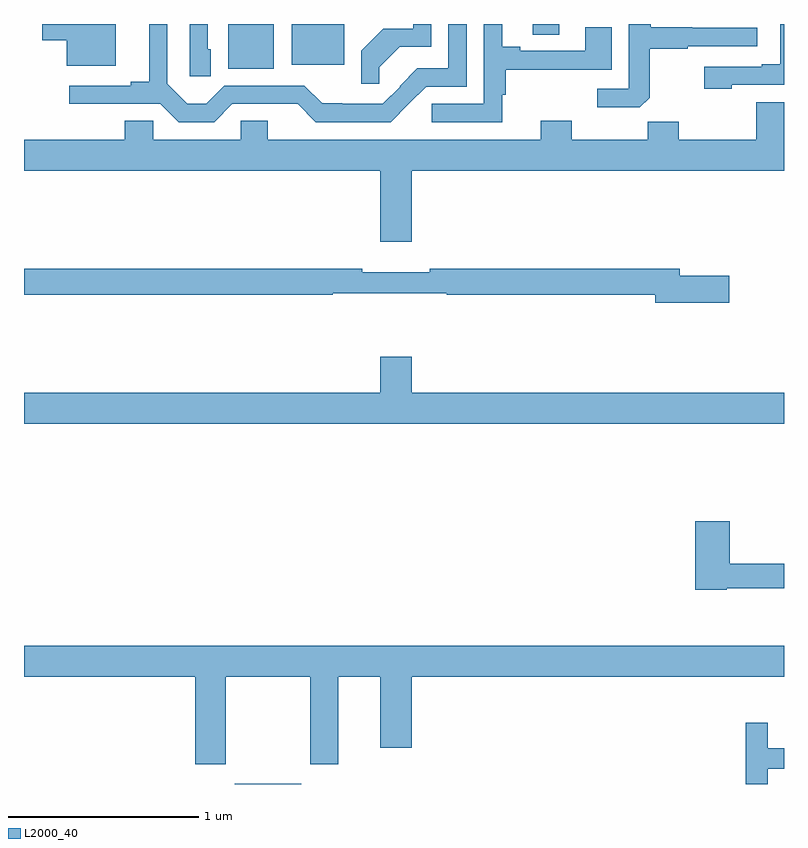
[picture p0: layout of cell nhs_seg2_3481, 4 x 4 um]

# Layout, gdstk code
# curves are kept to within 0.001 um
import gdstk
lib = gdstk.Library(unit=1e-6, precision=1e-09)
def R(c, l, rs):  # rectangles x0, y0, x1, y1
    for r in rs: c.add(gdstk.rectangle(r[:2], r[2:], *l))
def P(c, l, *ps):  # polygons
    for p in ps: c.add(gdstk.Polygon(p, *l))
L2000_40 = (2000, 40)

nhs_seg2_3481 = lib.new_cell('nhs_seg2_3481')
R(nhs_seg2_3481, L2000_40, [(296.108,585.8,296.458,585.802), (296.075,589.565,296.314,589.8), (296.408,589.586,296.686,589.8), (297.677,589.744,297.817,589.8)])
P(nhs_seg2_3481, L2000_40, [(295.984,589.668),(295.968,589.668),(295.968,589.8),(295.872,589.8),(295.872,589.525),(295.984,589.525)],
  [(296.097,589.38),(296.441,589.379),(296.535,589.284),(296.929,589.284),(297.117,589.47),(297.33,589.47),(297.33,589.8),(297.234,589.8),(297.234,589.566),(297.071,589.566),(296.977,589.472),(296.979,589.47),(296.889,589.38),(296.674,589.38),(296.674,589.382),(296.57,589.382),(296.475,589.476),(296.055,589.476),(295.96,589.381),(295.859,589.381),(295.755,589.485),(295.755,589.8),(295.658,589.8),(295.658,589.496),(295.562,589.496),(295.562,589.476),(295.239,589.476),(295.239,589.379),(295.718,589.38),(295.814,589.284),(296.001,589.284)],
  [(297.518,589.427),(297.536,589.427),(297.536,589.558),(298.093,589.558),(298.093,589.784),(297.953,589.784),(297.953,589.659),(297.613,589.659),(297.613,589.679),(297.517,589.679),(297.517,589.8),(297.42,589.8),(297.42,589.38),(297.147,589.38),(297.147,589.284),(297.518,589.284)],
  [(296.87,589.572),(296.978,589.68),(297.144,589.68),(297.144,589.8),(297.048,589.8),(297.048,589.776),(296.891,589.776),(296.775,589.66),(296.775,589.485),(296.87,589.485)],
  [(298.293,589.413),(298.293,589.671),(298.493,589.671),(298.493,589.683),(298.858,589.683),(298.858,589.78),(298.517,589.78),(298.517,589.784),(298.298,589.784),(298.298,589.8),(298.182,589.8),(298.182,589.458),(298.017,589.458),(298.017,589.362),(298.241,589.362)],
  [(298.725,589.479),(299,589.479),(299,589.8),(298.98,589.8),(298.98,589.588),(298.883,589.588),(298.883,589.575),(298.581,589.575),(298.581,589.46),(298.725,589.46)],
  [(295.483,589.8),(295.095,589.8),(295.095,589.715),(295.226,589.715),(295.226,589.58),(295.483,589.58)],
  [(297.04,589.028),(299,589.028),(299,589.387),(298.853,589.387),(298.853,589.192),(298.447,589.192),(298.447,589.285),(298.283,589.285),(298.283,589.192),(297.883,589.192),(297.883,589.291),(297.719,589.291),(297.719,589.192),(296.284,589.192),(296.284,589.29),(296.142,589.29),(296.142,589.192),(295.68,589.192),(295.68,589.29),(295.529,589.29),(295.529,589.192),(295,589.192),(295,589.028),(296.876,589.028),(296.876,588.654),(297.04,588.654)],
  [(298.711,588.476),(298.45,588.476),(298.45,588.512),(297.136,588.512),(297.136,588.493),(296.78,588.493),(296.78,588.512),(295,588.512),(295,588.376),(296.626,588.376),(296.626,588.384),(297.226,588.384),(297.226,588.376),(298.322,588.376),(298.322,588.334),(298.711,588.334)],
  [(299,587.86),(297.04,587.86),(297.04,588.049),(296.876,588.049),(296.876,587.86),(295,587.86),(295,587.696),(299,587.696)],
  [(298.698,586.83),(299,586.83),(299,586.958),(298.715,586.958),(298.715,587.182),(298.532,587.182),(298.532,586.822),(298.698,586.822)],
  [(296.061,586.364),(296.506,586.364),(296.506,585.903),(296.653,585.903),(296.653,586.364),(296.876,586.364),(296.876,585.99),(297.04,585.99),(297.04,586.364),(299,586.364),(299,586.528),(295,586.528),(295,586.364),(295.901,586.364),(295.901,585.903),(296.061,585.903)],
  [(298.914,585.879),(299,585.879),(299,585.988),(298.915,585.988),(298.915,586.123),(298.798,586.123),(298.798,585.8),(298.914,585.8)])

lib.write_gds('nhs_seg2_3481.gds')
